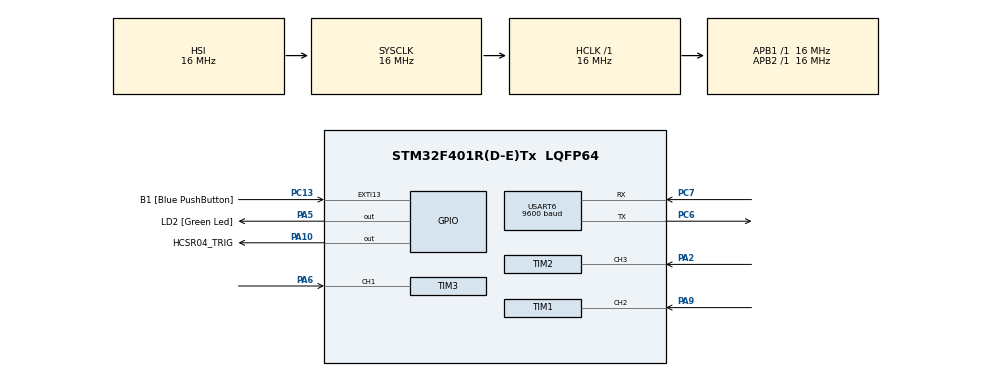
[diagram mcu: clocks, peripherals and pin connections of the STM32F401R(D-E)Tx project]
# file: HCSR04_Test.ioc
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Mcu.Family=STM32F4
Mcu.Name=STM32F401R(D-E)Tx
Mcu.Package=LQFP64
NVIC.PriorityGroup=NVIC_PRIORITYGROUP_0
NVIC.TIM1_CC_IRQn=true\:0\:0\:false\:false\:true\:true\:true\:true
NVIC.TIM2_IRQn=true\:0\:0\:false\:false\:true\:true\:true\:true
NVIC.TIM3_IRQn=true\:0\:0\:false\:false\:true\:true\:true\:true
PA10.GPIO_Label=HCSR04_TRIG
PA10.Signal=GPIO_Output
PA13.GPIO_Label=TMS
PA13.Mode=Serial_Wire
PA13.Signal=SYS_JTMS-SWDIO
PA14.GPIO_Label=TCK
PA14.Mode=Serial_Wire
PA14.Signal=SYS_JTCK-SWCLK
PA2.Signal=S_TIM2_CH3
PA5.GPIO_Label=LD2 [Green Led]
PA5.GPIO_Mode=GPIO_MODE_OUTPUT_PP
PA5.GPIO_PuPd=GPIO_NOPULL
PA5.GPIO_Speed=GPIO_SPEED_FREQ_LOW
PA5.Signal=GPIO_Output
PA6.Signal=S_TIM3_CH1
PA9.Signal=S_TIM1_CH2
PB3.GPIO_Label=SWO
PB3.Signal=SYS_JTDO-SWO
PC13-ANTI_TAMP.GPIO_Label=B1 [Blue PushButton]
PC13-ANTI_TAMP.GPIO_ModeDefaultEXTI=GPIO_MODE_IT_FALLING
PC13-ANTI_TAMP.GPIO_PuPd=GPIO_NOPULL
PC13-ANTI_TAMP.Signal=GPXTI13
PC14-OSC32_IN.Mode=LSE-External-Oscillator
PC14-OSC32_IN.Signal=RCC_OSC32_IN
PC15-OSC32_OUT.Mode=LSE-External-Oscillator
PC15-OSC32_OUT.Signal=RCC_OSC32_OUT
PC6.Mode=Asynchronous
PC6.Signal=USART6_TX
PC7.Mode=Asynchronous
PC7.Signal=USART6_RX
PH0\ -\ OSC_IN.Mode=HSE-External-Clock-Source
PH0\ -\ OSC_IN.Signal=RCC_OSC_IN
PH1\ -\ OSC_OUT.Mode=HSE-External-Clock-Source
PH1\ -\ OSC_OUT.Signal=RCC_OSC_OUT
ProjectManager.HeapSize=0x200
ProjectManager.StackSize=0x400
ProjectManager.TargetToolchain=STM32CubeIDE
RCC.48MHZClocksFreq_Value=48000000
RCC.AHBFreq_Value=16000000
RCC.APB1Freq_Value=16000000
RCC.APB1TimFreq_Value=16000000
RCC.APB2Freq_Value=16000000
RCC.APB2TimFreq_Value=16000000
RCC.CortexFreq_Value=16000000
RCC.HCLKFreq_Value=16000000
RCC.HSE_VALUE=8000000
RCC.HSI_VALUE=16000000
RCC.PLLN=336
RCC.PLLP=RCC_PLLP_DIV4
RCC.PLLQ=7
RCC.SYSCLKFreq_VALUE=16000000
RCC.VCOOutputFreq_Value=336000000
SH.S_TIM1_CH2.0=TIM1_CH2,Input_Capture2_from_TI2
SH.S_TIM2_CH3.0=TIM2_CH3,Input_Capture3_from_TI3
SH.S_TIM3_CH1.0=TIM3_CH1,Input_Capture1_from_TI1
TIM1.Channel-Input_Capture2_from_TI2=TIM_CHANNEL_2
TIM1.ICPolarity_CH2=TIM_INPUTCHANNELPOLARITY_BOTHEDGE
TIM1.Period=38000-1
TIM1.Prescaler=16-1
TIM2.Channel-Input_Capture3_from_TI3=TIM_CHANNEL_3
TIM2.ICPolarity_CH3=TIM_INPUTCHANNELPOLARITY_BOTHEDGE
TIM2.Period=38000-1
TIM2.Prescaler=16-1
TIM3.Channel-Input_Capture1_from_TI1=TIM_CHANNEL_1
TIM3.ICPolarity_CH1=TIM_INPUTCHANNELPOLARITY_BOTHEDGE
TIM3.Period=38000-1
TIM3.Prescaler=16-1
USART6.BaudRate=9600
USART6.VirtualMode=VM_ASYNC
VP_TIM1_VS_ClockSourceINT.Mode=Internal
VP_TIM2_VS_ClockSourceINT.Mode=Internal
VP_TIM3_VS_ClockSourceINT.Mode=Internal
board=NUCLEO-F401RE

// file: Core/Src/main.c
/* USER CODE BEGIN Header */
/**
  ******************************************************************************
  * @file           : main.c
  * @brief          : Main program body
  ******************************************************************************
  * @attention
  *
  * Copyright (c) 2024 STMicroelectronics.
  * All rights reserved.
  *
  * This software is licensed under terms that can be found in the LICENSE file
  * in the root directory of this software component.
  * If no LICENSE file comes with this software, it is provided AS-IS.
  *
  ******************************************************************************
  */
/* USER CODE END Header */
#include "main.h"

TIM_HandleTypeDef htim1;
TIM_HandleTypeDef htim2;
TIM_HandleTypeDef htim3;

UART_HandleTypeDef huart6;

void SystemClock_Config(void);
static void MX_GPIO_Init(void);
static void MX_USART6_UART_Init(void);
static void MX_TIM3_Init(void);
static void MX_TIM2_Init(void);
static void MX_TIM1_Init(void);

/* USER CODE BEGIN 0 */
volatile uint8_t hcsr04_Rx_flag = 0;  // reset the interrupt flag for the HC5R04
volatile uint8_t first_edge = 0;  // set it back to false
volatile uint16_t time_edge1 = 0;
volatile uint16_t time_edge2 = 0;
/* USER CODE END 0 */

int main(void)
{
  /* USER CODE BEGIN 1 */
	void HCSR04_TRIG_PULSE(void)
	{
		HAL_GPIO_WritePin(HCSR04_TRIG_GPIO_Port, HCSR04_TRIG_Pin, GPIO_PIN_SET);
		for (int j = 0; j != 100; j++) {};
		HAL_GPIO_WritePin(HCSR04_TRIG_GPIO_Port, HCSR04_TRIG_Pin, GPIO_PIN_RESET);
	}

  /* USER CODE END 1 */

  /* MCU Configuration--------------------------------------------------------*/

  /* Reset of all peripherals, Initializes the Flash interface and the Systick. */
  HAL_Init();

  /* Configure the system clock */
  SystemClock_Config();

  /* Initialize all configured peripherals */
  MX_GPIO_Init();
  MX_USART6_UART_Init();
  MX_TIM3_Init();
  MX_TIM2_Init();
  MX_TIM1_Init();
  /* USER CODE BEGIN 2 */
  HAL_TIM_Base_Init(&htim3);
  HAL_TIM_Base_Start(&htim3);
  HAL_TIM_IC_Start_IT(&htim3, TIM_CHANNEL_1);
  HAL_TIM_Base_Init(&htim1);
    HAL_TIM_Base_Start(&htim1);
    HAL_TIM_IC_Start_IT(&htim1, TIM_CHANNEL_2);
  /* USER CODE END 2 */

  /* Infinite loop */
  /* USER CODE BEGIN WHILE */
  while (1)
  {
      hcsr04_Rx_flag = 0;  // reset the interrupt flag for the HCSR04
      first_edge = 0;  // set it back to false
      time_edge1 = 0;
      time_edge2 = 0;
     int time_diff = 0;
      int distance = 0;
      char txd_msg_buffer[250];

      HCSR04_TRIG_PULSE();
     // HAL_Delay(100);

      while (hcsr04_Rx_flag == 0) {
//    	  HAL_UART_Transmit(&huart6, "lol", 3, 1000);
//    	  HAL_TIM_IC_CaptureCallback(&htim3);
      };

      /* enter below your difference in time between the edges here */

      time_diff = time_edge2 - time_edge1;

      sprintf(txd_msg_buffer, " ECHO Pulse Width (usec): %d \r\n", time_diff);
      HAL_UART_Transmit(&huart6, txd_msg_buffer, strlen(txd_msg_buffer), 1000);

      /* enter below your distance calculation here that uses HCSR04 datasheet information */
      // inches calculation
      distance = time_diff/148.00;
      sprintf(txd_msg_buffer, " DISTANCE TO OBJECT (inches): %d \r\n", distance);
      HAL_UART_Transmit(&huart6, txd_msg_buffer, strlen(txd_msg_buffer), 1000);

      HAL_Delay(1000);

    /* USER CODE END WHILE */

  }
}

void SystemClock_Config(void)
{
  RCC_OscInitTypeDef RCC_OscInitStruct = {0};
  RCC_ClkInitTypeDef RCC_ClkInitStruct = {0};

  /** Configure the main internal regulator output voltage
  */
  __HAL_RCC_PWR_CLK_ENABLE();
  __HAL_PWR_VOLTAGESCALING_CONFIG(PWR_REGULATOR_VOLTAGE_SCALE2);

  /** Initializes the RCC Oscillators according to the specified parameters
  * in the RCC_OscInitTypeDef structure.
  */
  RCC_OscInitStruct.OscillatorType = RCC_OSCILLATORTYPE_HSI;
  RCC_OscInitStruct.HSIState = RCC_HSI_ON;
  RCC_OscInitStruct.HSICalibrationValue = RCC_HSICALIBRATION_DEFAULT;
  RCC_OscInitStruct.PLL.PLLState = RCC_PLL_NONE;
  if (HAL_RCC_OscConfig(&RCC_OscInitStruct) != HAL_OK)
  {
    Error_Handler();
  }

  /** Initializes the CPU, AHB and APB buses clocks
  */
  RCC_ClkInitStruct.ClockType = RCC_CLOCKTYPE_HCLK|RCC_CLOCKTYPE_SYSCLK
                              |RCC_CLOCKTYPE_PCLK1|RCC_CLOCKTYPE_PCLK2;
  RCC_ClkInitStruct.SYSCLKSource = RCC_SYSCLKSOURCE_HSI;
  RCC_ClkInitStruct.AHBCLKDivider = RCC_SYSCLK_DIV1;
  RCC_ClkInitStruct.APB1CLKDivider = RCC_HCLK_DIV1;
  RCC_ClkInitStruct.APB2CLKDivider = RCC_HCLK_DIV1;

  if (HAL_RCC_ClockConfig(&RCC_ClkInitStruct, FLASH_LATENCY_0) != HAL_OK)
  {
    Error_Handler();
  }
}

static void MX_TIM1_Init(void)
{

  TIM_ClockConfigTypeDef sClockSourceConfig = {0};
  TIM_MasterConfigTypeDef sMasterConfig = {0};
  TIM_IC_InitTypeDef sConfigIC = {0};

  htim1.Instance = TIM1;
  htim1.Init.Prescaler = 16-1;
  htim1.Init.CounterMode = TIM_COUNTERMODE_UP;
  htim1.Init.Period = 38000-1;
  htim1.Init.ClockDivision = TIM_CLOCKDIVISION_DIV1;
  htim1.Init.RepetitionCounter = 0;
  htim1.Init.AutoReloadPreload = TIM_AUTORELOAD_PRELOAD_DISABLE;
  if (HAL_TIM_Base_Init(&htim1) != HAL_OK)
  {
    Error_Handler();
  }
  sClockSourceConfig.ClockSource = TIM_CLOCKSOURCE_INTERNAL;
  if (HAL_TIM_ConfigClockSource(&htim1, &sClockSourceConfig) != HAL_OK)
  {
    Error_Handler();
  }
  if (HAL_TIM_IC_Init(&htim1) != HAL_OK)
  {
    Error_Handler();
  }
  sMasterConfig.MasterOutputTrigger = TIM_TRGO_RESET;
  sMasterConfig.MasterSlaveMode = TIM_MASTERSLAVEMODE_DISABLE;
  if (HAL_TIMEx_MasterConfigSynchronization(&htim1, &sMasterConfig) != HAL_OK)
  {
    Error_Handler();
  }
  sConfigIC.ICPolarity = TIM_INPUTCHANNELPOLARITY_BOTHEDGE;
  sConfigIC.ICSelection = TIM_ICSELECTION_DIRECTTI;
  sConfigIC.ICPrescaler = TIM_ICPSC_DIV1;
  sConfigIC.ICFilter = 0;
  if (HAL_TIM_IC_ConfigChannel(&htim1, &sConfigIC, TIM_CHANNEL_2) != HAL_OK)
  {
    Error_Handler();
  }

}

static void MX_TIM2_Init(void)
{

  TIM_ClockConfigTypeDef sClockSourceConfig = {0};
  TIM_MasterConfigTypeDef sMasterConfig = {0};
  TIM_IC_InitTypeDef sConfigIC = {0};

  htim2.Instance = TIM2;
  htim2.Init.Prescaler = 16-1;
  htim2.Init.CounterMode = TIM_COUNTERMODE_UP;
  htim2.Init.Period = 38000-1;
  htim2.Init.ClockDivision = TIM_CLOCKDIVISION_DIV1;
  htim2.Init.AutoReloadPreload = TIM_AUTORELOAD_PRELOAD_DISABLE;
  if (HAL_TIM_Base_Init(&htim2) != HAL_OK)
  {
    Error_Handler();
  }
  sClockSourceConfig.ClockSource = TIM_CLOCKSOURCE_INTERNAL;
  if (HAL_TIM_ConfigClockSource(&htim2, &sClockSourceConfig) != HAL_OK)
  {
    Error_Handler();
  }
  if (HAL_TIM_IC_Init(&htim2) != HAL_OK)
  {
    Error_Handler();
  }
  sMasterConfig.MasterOutputTrigger = TIM_TRGO_RESET;
  sMasterConfig.MasterSlaveMode = TIM_MASTERSLAVEMODE_DISABLE;
  if (HAL_TIMEx_MasterConfigSynchronization(&htim2, &sMasterConfig) != HAL_OK)
  {
    Error_Handler();
  }
  sConfigIC.ICPolarity = TIM_INPUTCHANNELPOLARITY_BOTHEDGE;
  sConfigIC.ICSelection = TIM_ICSELECTION_DIRECTTI;
  sConfigIC.ICPrescaler = TIM_ICPSC_DIV1;
  sConfigIC.ICFilter = 0;
  if (HAL_TIM_IC_ConfigChannel(&htim2, &sConfigIC, TIM_CHANNEL_3) != HAL_OK)
  {
    Error_Handler();
  }

}

static void MX_TIM3_Init(void)
{

  TIM_ClockConfigTypeDef sClockSourceConfig = {0};
  TIM_MasterConfigTypeDef sMasterConfig = {0};
  TIM_IC_InitTypeDef sConfigIC = {0};

  htim3.Instance = TIM3;
  htim3.Init.Prescaler = 16-1;
  htim3.Init.CounterMode = TIM_COUNTERMODE_UP;
  htim3.Init.Period = 38000-1;
  htim3.Init.ClockDivision = TIM_CLOCKDIVISION_DIV1;
  htim3.Init.AutoReloadPreload = TIM_AUTORELOAD_PRELOAD_DISABLE;
  if (HAL_TIM_Base_Init(&htim3) != HAL_OK)
  {
    Error_Handler();
  }
  sClockSourceConfig.ClockSource = TIM_CLOCKSOURCE_INTERNAL;
  if (HAL_TIM_ConfigClockSource(&htim3, &sClockSourceConfig) != HAL_OK)
  {
    Error_Handler();
  }
  if (HAL_TIM_IC_Init(&htim3) != HAL_OK)
  {
    Error_Handler();
  }
  sMasterConfig.MasterOutputTrigger = TIM_TRGO_RESET;
  sMasterConfig.MasterSlaveMode = TIM_MASTERSLAVEMODE_DISABLE;
  if (HAL_TIMEx_MasterConfigSynchronization(&htim3, &sMasterConfig) != HAL_OK)
  {
    Error_Handler();
  }
  sConfigIC.ICPolarity = TIM_INPUTCHANNELPOLARITY_BOTHEDGE;
  sConfigIC.ICSelection = TIM_ICSELECTION_DIRECTTI;
  sConfigIC.ICPrescaler = TIM_ICPSC_DIV1;
  sConfigIC.ICFilter = 0;
  if (HAL_TIM_IC_ConfigChannel(&htim3, &sConfigIC, TIM_CHANNEL_1) != HAL_OK)
  {
    Error_Handler();
  }

}

static void MX_USART6_UART_Init(void)
{

  huart6.Instance = USART6;
  huart6.Init.BaudRate = 9600;
  huart6.Init.WordLength = UART_WORDLENGTH_8B;
  huart6.Init.StopBits = UART_STOPBITS_1;
  huart6.Init.Parity = UART_PARITY_NONE;
  huart6.Init.Mode = UART_MODE_TX_RX;
  huart6.Init.HwFlowCtl = UART_HWCONTROL_NONE;
  huart6.Init.OverSampling = UART_OVERSAMPLING_16;
  if (HAL_UART_Init(&huart6) != HAL_OK)
  {
    Error_Handler();
  }

}

static void MX_GPIO_Init(void)
{
  GPIO_InitTypeDef GPIO_InitStruct = {0};

  /* GPIO Ports Clock Enable */
  __HAL_RCC_GPIOC_CLK_ENABLE();
  __HAL_RCC_GPIOH_CLK_ENABLE();
  __HAL_RCC_GPIOA_CLK_ENABLE();
  __HAL_RCC_GPIOB_CLK_ENABLE();

  /*Configure GPIO pin Output Level */
  HAL_GPIO_WritePin(GPIOA, LD2_Pin|HCSR04_TRIG_Pin, GPIO_PIN_RESET);

  /*Configure GPIO pin : B1_Pin */
  GPIO_InitStruct.Pin = B1_Pin;
  GPIO_InitStruct.Mode = GPIO_MODE_IT_FALLING;
  GPIO_InitStruct.Pull = GPIO_NOPULL;
  HAL_GPIO_Init(B1_GPIO_Port, &GPIO_InitStruct);

  /*Configure GPIO pins : LD2_Pin HCSR04_TRIG_Pin */
  GPIO_InitStruct.Pin = LD2_Pin|HCSR04_TRIG_Pin;
  GPIO_InitStruct.Mode = GPIO_MODE_OUTPUT_PP;
  GPIO_InitStruct.Pull = GPIO_NOPULL;
  GPIO_InitStruct.Speed = GPIO_SPEED_FREQ_LOW;
  HAL_GPIO_Init(GPIOA, &GPIO_InitStruct);

}

/* USER CODE BEGIN 4 */
  void HAL_TIM_IC_CaptureCallback(TIM_HandleTypeDef *htim)
  {
	  //HAL_UART_Transmit(&huart6, "AAA", 3, 1000);
      if (htim->Instance == TIM1)
      {
          if (htim->Channel == 2)
          {
              if (first_edge == 0)  // if the first value is not captured
              {
                  time_edge1 = HAL_TIM_ReadCapturedValue(htim, TIM_CHANNEL_2);  // read the first value
                  first_edge = 1;  // set the first captured as true
              }
              else  // if the first is already captured
              {
                  time_edge2 = HAL_TIM_ReadCapturedValue(htim, TIM_CHANNEL_2);  // read second value
                  __HAL_TIM_SET_COUNTER(htim, 0);  // reset the counter
                  hcsr04_Rx_flag = 1;  // set the interrupt flag for result done
              }
          }
      }
  }
/* USER CODE END 4 */

void Error_Handler(void)
{
  __disable_irq();
  while (1)
  {
  }
}
